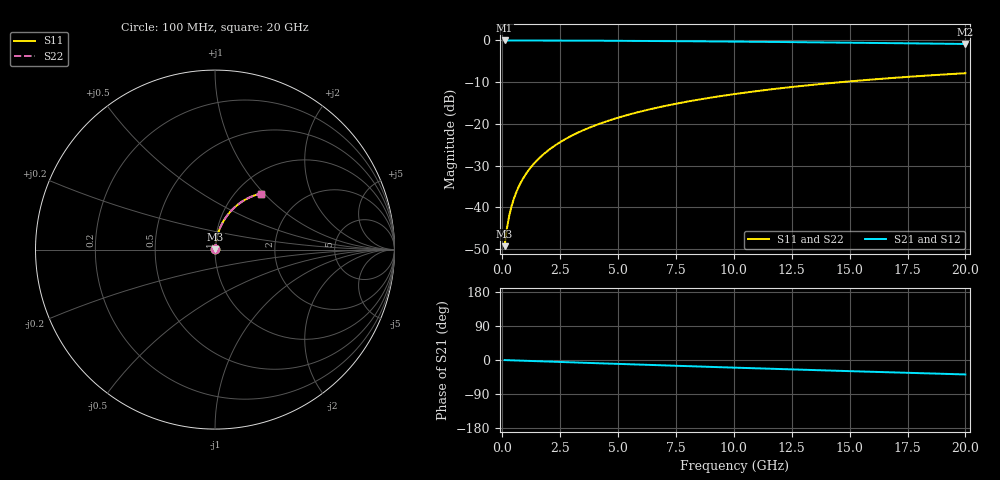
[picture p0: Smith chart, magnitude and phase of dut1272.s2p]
! Touchstone file exported from HFSS 2026.1.0
!  File:  C:/ffzhzh/LocalFiles/Ansys_Project_Files/temp_train_TMRDL_1272_1783164190_18472.aedt
!  Generated:  07:24:35 PM Jul  4, 2026
!  Design:  TMRDL
!  Project:  temp_train_TMRDL_1272_1783164190_18472
! Variables:
!  h_bsmrdl = 2um
!  h_ox = 20um
!  h_rdl = 5um
!  h_sub = 80um
!  h_tmrdl = 4.31um
!  h_tsv = 80um
!  h_via = 3um
!  l_bsmrdl = 300um
!  l_sub = 904.71um
!  l_tmrdl = 504.71um
!  m_sub = 200um
!  pitch = 56.84um
!  r_tsv = 6um
!  s_tmrdl = 10um
!  w_bsmrdl = 18um
!  w_sub = 500um
!  w_tmrdl = 19.66um
!  x_tsv_center1 = 514.54um
!  x_tsv_center2 = 832.54um
!  x_tsv_center3 = 1356.91um
!  x_tsv_center4 = 1674.91um
!  x_tsv_center5 = 2199.28um
!  x_tsv_center6 = 2517.28um
# GHz S MA R 50.000000
! Terminal data exported
! Port[1] = TM_RDL1_1_T1
! Port[2] = TM_RDL1_1_T2
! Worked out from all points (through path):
!   200 points, 100 MHz to 20 GHz, reference 50 ohm
!   highest |S21| = -0.02 dB at 100 MHz (marker M1); lowest = -0.9 dB at 20 GHz (marker M2)
!   group delay of S21, straight-line fit = 5.3 ps
!   lowest |S11| = -49.3 dB at 100 MHz (marker M3), VSWR 1.01, Z = 50.2 + j0.256 ohm
!   |S11| at or under -10 dB: start of sweep to 14.65 GHz
!   |S22| runs from -49.3 to -7.9 dB; largest |S21 - S12| = 3.2e-15
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0.1  0.003415 48.4  0.9977 -0.2  0.9977 -0.2  0.003415 48.4
! Gamma 0 0 0 0
! Port Impedance 50 0 50 0
0.2  0.005594 64.8  0.9976 -0.4  0.9976 -0.4  0.005593 64.8
0.3  0.007929 71.4  0.9975 -0.6  0.9975 -0.6  0.007929 71.4
0.4  0.01029 74.9  0.9974 -0.8  0.9974 -0.8  0.01029 74.9
0.5  0.01265 77.0  0.9973 -1.1  0.9973 -1.1  0.01265 77.0
0.7  0.01739 79.5  0.9972 -1.5  0.9972 -1.5  0.01739 79.5
0.8  0.01977 80.3  0.9971 -1.7  0.9971 -1.7  0.01977 80.3
1  0.02454 81.3  0.9969 -2.1  0.9969 -2.1  0.02453 81.3
1.2  0.02931 81.8  0.9967 -2.5  0.9967 -2.5  0.02931 81.8
1.4  0.03409 82.1  0.9965 -2.9  0.9965 -2.9  0.03409 82.1
1.7  0.04125 82.2  0.9961 -3.5  0.9961 -3.5  0.04125 82.2
2  0.04841 82.1  0.9957 -4.2  0.9957 -4.2  0.04841 82.1
2.7  0.06503 81.3  0.9944 -5.6  0.9944 -5.6  0.06503 81.3
3.5  0.08383 80.1  0.9926 -7.3  0.9926 -7.3  0.08383 80.1
4.2  0.1001 78.9  0.9907 -8.7  0.9907 -8.7  0.1001 78.9
5  0.1184 77.4  0.9882 -10.3  0.9882 -10.3  0.1184 77.4
6.8  0.1587 74.0  0.9816 -13.9  0.9816 -13.9  0.1587 74.1
8.3  0.1912 71.2  0.9752 -16.8  0.9752 -16.8  0.1912 71.3
10.1  0.2287 67.9  0.9664 -20.3  0.9664 -20.3  0.2287 67.9
13.4  0.2933 61.9  0.948 -26.5  0.948 -26.5  0.2933 61.9
16.7  0.3519 56.2  0.9274 -32.4  0.9274 -32.4  0.3519 56.2
20  0.4042 50.6  0.9057 -38.1  0.9057 -38.1  0.4042 50.6
